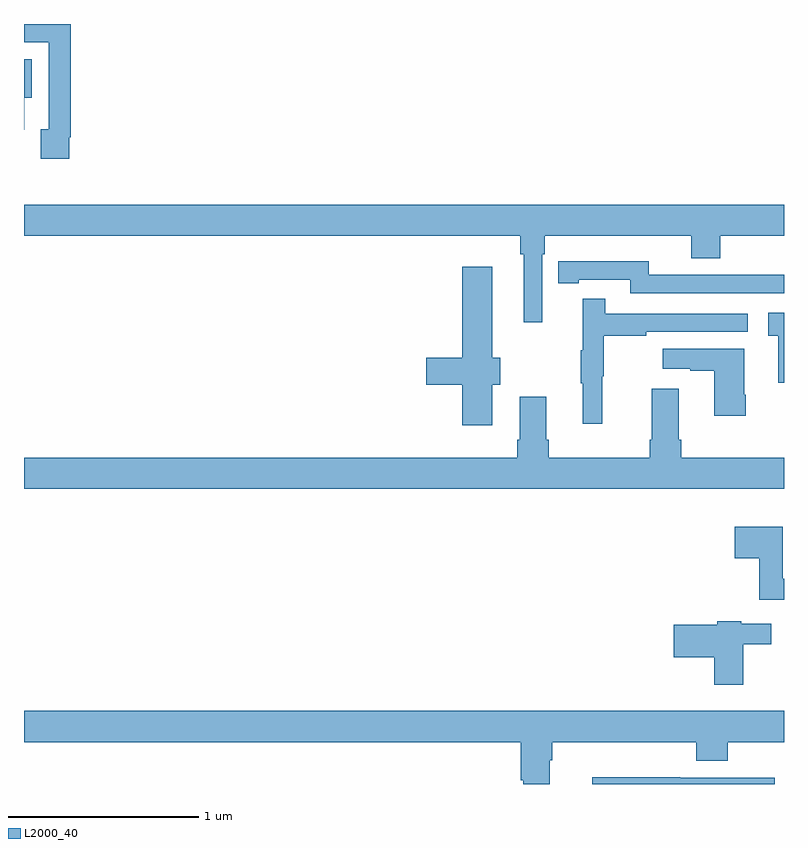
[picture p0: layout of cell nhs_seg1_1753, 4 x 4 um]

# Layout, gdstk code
import gdstk
lib = gdstk.Library(unit=1e-6, precision=1e-09)
def P(c, l, *ps):  # polygons
    for p in ps: c.add(gdstk.Polygon(p, *l))
L2000_40 = (2000, 40)

nhs_seg1_1753 = lib.new_cell('nhs_seg1_1753')
P(nhs_seg1_1753, L2000_40, [(207.238,533.602),(207.245,533.602),(207.245,534.199),(207,534.199),(207,534.102),(207.129,534.102),(207.129,533.646),(207.089,533.646),(207.089,533.49),(207.238,533.49)],
  [(207.001,533.81),(207.04,533.81),(207.04,534.013),(207,534.013),(207,533.642),(207.001,533.642)],
  [(207,533.084),(209.611,533.084),(209.611,532.988),(209.63,532.988),(209.63,532.629),(209.727,532.629),(209.727,532.988),(209.741,532.988),(209.741,533.084),(210.512,533.084),(210.512,532.967),(210.665,532.967),(210.665,533.084),(211,533.084),(211,533.248),(207,533.248)],
  [(211,532.88),(210.748,532.88),(210.748,532.878),(210.288,532.878),(210.288,532.951),(209.92,532.951),(209.92,532.95),(209.812,532.95),(209.812,532.834),(209.92,532.834),(209.92,532.854),(210.192,532.854),(210.192,532.782),(211,532.782)],
  [(209.464,532.3),(209.506,532.3),(209.506,532.442),(209.464,532.442),(209.464,532.921),(209.306,532.921),(209.306,532.442),(209.118,532.442),(209.118,532.3),(209.306,532.3),(209.306,532.086),(209.464,532.086)],
  [(210.044,532.344),(210.052,532.344),(210.052,532.558),(210.275,532.558),(210.275,532.578),(210.808,532.578),(210.808,532.674),(210.059,532.674),(210.059,532.753),(209.942,532.753),(209.942,532.481),(209.931,532.481),(209.931,532.307),(209.942,532.307),(209.942,532.095),(210.044,532.095)],
  [(211,532.678),(210.918,532.678),(210.918,532.557),(210.971,532.557),(210.971,532.311),(211,532.311)],
  [(210.798,532.249),(210.79,532.249),(210.79,532.489),(210.363,532.489),(210.363,532.385),(210.506,532.385),(210.506,532.375),(210.632,532.375),(210.632,532.137),(210.798,532.137)],
  [(211,531.916),(210.458,531.916),(210.458,532.012),(210.445,532.012),(210.445,532.279),(210.305,532.279),(210.305,532.012),(210.293,532.012),(210.293,531.916),(209.762,531.916),(209.762,532.012),(209.749,532.012),(209.749,532.237),(209.609,532.237),(209.609,532.012),(209.597,532.012),(209.597,531.916),(207,531.916),(207,531.752),(211,531.752)],
  [(211,531.28),(210.994,531.28),(210.994,531.553),(210.741,531.553),(210.741,531.386),(210.869,531.386),(210.869,531.168),(211,531.168)],
  [(210.786,530.934),(210.934,530.934),(210.934,531.042),(210.774,531.042),(210.774,531.055),(210.648,531.055),(210.648,531.038),(210.42,531.038),(210.42,530.867),(210.632,530.867),(210.632,530.721),(210.786,530.721)],
  [(209.767,530.324),(209.78,530.324),(209.78,530.42),(210.539,530.42),(210.539,530.321),(210.704,530.321),(210.704,530.42),(211,530.42),(211,530.584),(207,530.584),(207,530.42),(209.615,530.42),(209.615,530.218),(209.627,530.218),(209.627,530.199),(209.767,530.199)],
  [(210.951,530.232),(210.455,530.232),(210.455,530.234),(209.992,530.234),(209.992,530.199),(210.951,530.199)])

lib.write_gds('nhs_seg1_1753.gds')
